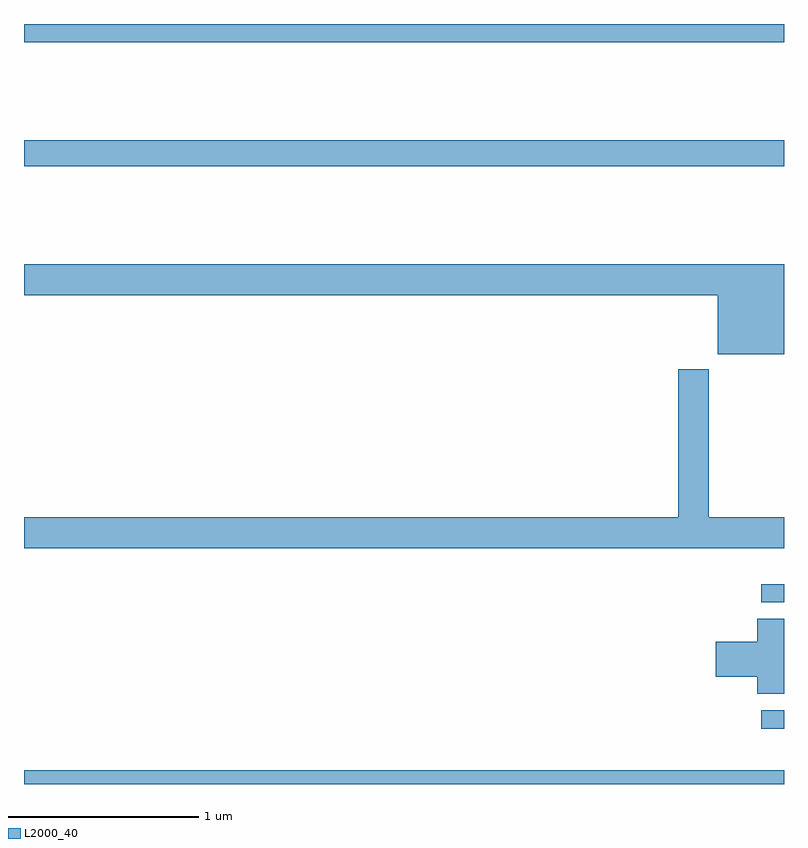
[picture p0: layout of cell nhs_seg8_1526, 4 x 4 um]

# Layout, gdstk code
import gdstk
lib = gdstk.Library(unit=1e-6, precision=1e-09)
def R(c, l, rs):  # rectangles x0, y0, x1, y1
    for r in rs: c.add(gdstk.rectangle(r[:2], r[2:], *l))
def P(c, l, *ps):  # polygons
    for p in ps: c.add(gdstk.Polygon(p, *l))
L2000_40 = (2000, 40)

nhs_seg8_1526 = lib.new_cell('nhs_seg8_1526')
R(nhs_seg8_1526, L2000_40, [(207,1141.9,211,1141.972), (210.879,1142.191,211,1142.289), (210.879,1142.856,211,1142.952), (207,1145.152,211,1145.288), (207,1145.804,211,1145.9)])
P(nhs_seg8_1526, L2000_40, [(211,1144.636),(207,1144.636),(207,1144.472),(210.65,1144.472),(210.65,1144.163),(211,1144.163)],
  [(211,1143.304),(210.603,1143.304),(210.603,1144.084),(210.443,1144.084),(210.443,1143.304),(207,1143.304),(207,1143.14),(211,1143.14)],
  [(211,1142.771),(210.86,1142.771),(210.86,1142.648),(210.642,1142.648),(210.642,1142.465),(210.86,1142.465),(210.86,1142.374),(211,1142.374)])

lib.write_gds('nhs_seg8_1526.gds')
